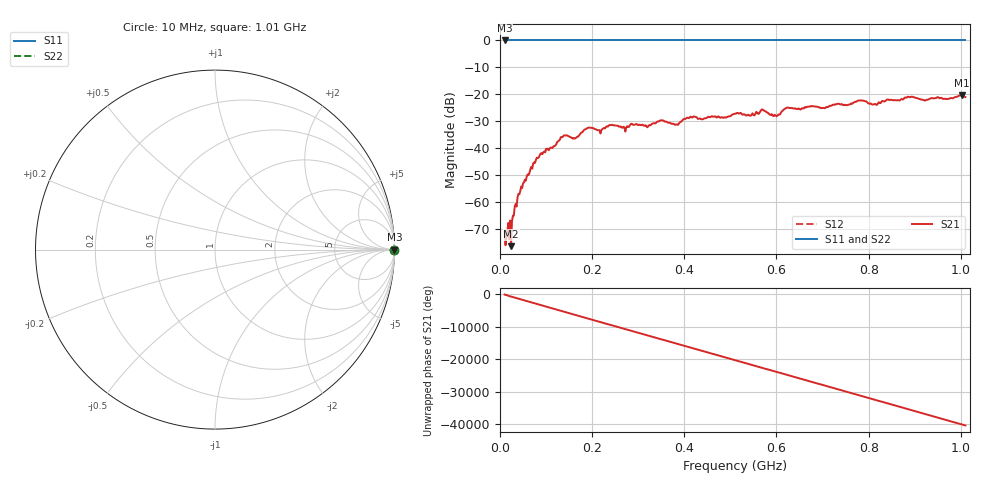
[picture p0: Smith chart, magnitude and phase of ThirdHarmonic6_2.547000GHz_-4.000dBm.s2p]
! 8/17/2025 5:10:47 AM
! C:\ANRITSUVNA\TEMP\TEMP.S2P
! CHANNEL.1
! TR.MEASUREMENT
! RAW.DATA
! RF.CORRECTION.OFF
! AVERAGING.OFF
! IF.BANDWIDTH: 5KHZ
! SWEEPTYPE:  FREQ.SWEEP(Linear)
! Reference Plane Port Info
! PORT:  PORT1  PORT2
! DISTANCE:  0  m  0  m
! TIME:  0  s  0  s
! PHASE.OFFSET:  0  deg.  0  deg.
! LOSS:  0  dB  0  dB
! REF.LOSS:  0  dB  0  dB
! REF.FREQ:  0  Hz  0  Hz
! Power Info
! POWER:  -20  dBm  -20  dBm
! EFF.POWER:  -20  dBm  -20  dBm
! SOURCE.ATTEN:  0  dB  0  dB
! TEST.ATTEN:  0  dB  0  dB
# GHZ S RI R 50.0
! FREQ.GHZ  S11RE  S11IM  S21RE  S21IM  S12RE  S12IM  S22RE  S22IM
!; PortSelection: Port_12
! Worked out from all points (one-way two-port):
!   501 points, 10 MHz to 1.01 GHz, reference 50 ohm
!   highest |S21| = -20.35 dB at 1.002 GHz (marker M1); lowest = -76.5 dB at 24 MHz (marker M2)
!   lowest |S11| = 0.0 dB at 10 MHz (marker M3)
!   |S11| at or under -10 dB: nowhere
!   |S22| runs from 0.0 to 0.0 dB; largest |S21 - S12| = 1.1
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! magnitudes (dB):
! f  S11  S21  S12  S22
! 10 MHz  0.0  -71.1  0.0  0.0
! 24 MHz  0.0  -76.5  0.0  0.0
! 30 MHz  0.0  -65.1  0.0  0.0
! 42 MHz  0.0  -57.2  0.0  0.0
! 76 MHz  0.0  -45.5  0.0  0.0
! 136 MHz  0.0  -35.9  0.0  0.0
! 162 MHz  0.0  -36.5  0.0  0.0
! 178 MHz  0.0  -34.2  0.0  0.0
! 344 MHz  0.0  -30.1  0.0  0.0
! 384 MHz  0.0  -31.2  0.0  0.0
! 410 MHz  0.0  -28.9  0.0  0.0
! 510 MHz  0.0  -27.2  0.0  0.0
! 542 MHz  0.0  -28.0  0.0  0.0
! 570 MHz  0.0  -25.7  0.0  0.0
! 598 MHz  0.0  -27.9  0.0  0.0
! 622 MHz  0.0  -25.0  0.0  0.0
! 678 MHz  0.0  -24.5  0.0  0.0
! 782 MHz  0.0  -22.3  0.0  0.0
! 814 MHz  0.0  -23.6  0.0  0.0
! 844 MHz  0.0  -22.1  0.0  0.0
! 1.002 GHz  0.0  -20.3  0.0  0.0
! 1.01 GHz  0.0  -21.0  0.0  0.0
